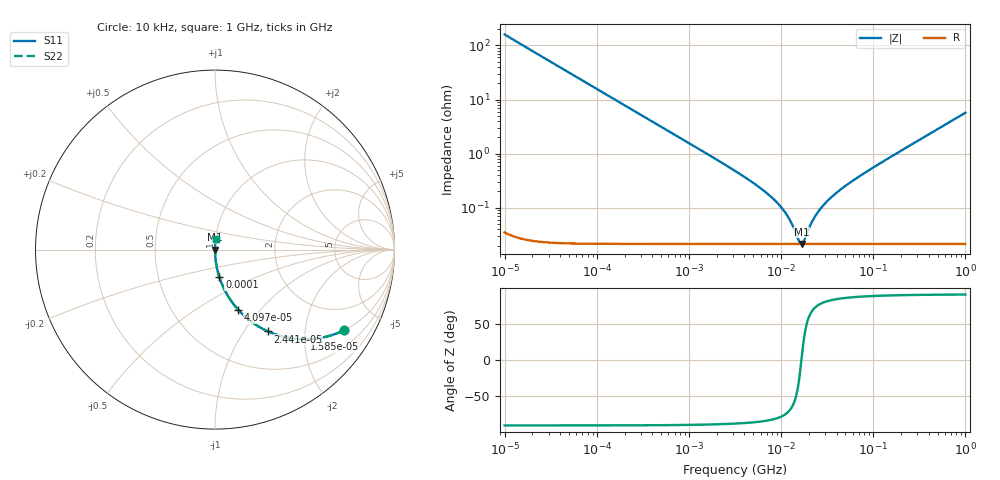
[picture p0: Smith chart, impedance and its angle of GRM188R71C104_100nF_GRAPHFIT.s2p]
! Touchstone 2-port S-parameters  (series-through model)
! Part: GRM188R71C104_100nF_GRAPHFIT
! Generated: 2026-06-14 19:51 UTC  by s2p tool
! Reference impedance: 50.0 Ohm
! ESL not derivable (no SRF, no case) -> default 0.5 nH [PHYSICS ESTIMATE, low confidence]
! ESR unknown -> default 10 mOhm [PHYSICS ESTIMATE, low confidence]
! Effective C from impedance curve: 101.129 nF (nominal 100.0 nF) [freq-domain derived, preferred over nominal]
! Z(f) vector-fit to digitized graph(s): 2 poles, rel. RMS error 0.75% [GRAPH FIT ***]
! SPICE = synthesized RLC ladder (1 branches, passive)
! ESTIMATED / behavioral model - NOT manufacturer-measured data.
# Hz S RI R 50
! freq  ReS11  ImS11  ReS21  ImS21  ReS12  ImS12  ReS22  ImS22
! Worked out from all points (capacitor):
!   521 points, 10 kHz to 1 GHz, reference 50 ohm
!   read as one part in series: C = 100 nF near 10.59 kHz
!   lowest |Z| = 21.5 mohm at 16.79 MHz (marker M1)
!   series resonance near 16.63 MHz, so ESL is about 910 pH
!   S11 on the Smith chart (normalised r, x): 10 kHz: 1.00, -3.19; 15.85 kHz: 1.00, -2.00; 24.41 kHz: 1.00, -1.29; 40.97 kHz: 1.00, -0.77; 100 kHz: 1.00, -0.32; 1 GHz: 1.00, +0.11
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10000  0.7184 -0.4497  0.2816 0.4497  0.2816 0.4497  0.7184 -0.4497
15848.93  0.4998 -0.4999  0.5002 0.4999  0.5002 0.4999  0.4998 -0.4999
24406.19  0.2953 -0.456  0.7047 0.456  0.7047 0.456  0.2953 -0.456
40973.21  0.1292 -0.3351  0.8708 0.3351  0.8708 0.3351  0.1292 -0.3351
68785.99  0.0501 -0.2176  0.9499 0.2176  0.9499 0.2176  0.0501 -0.2176
100000  0.0244 -0.1537  0.9756 0.1537  0.9756 0.1537  0.0244 -0.1537
473151.3  0.00132 -0.0332  0.9987 0.0332  0.9987 0.0332  0.00132 -0.0332
3162278  0.000238 -0.0048  0.9998 0.0048  0.9998 0.0048  0.000238 -0.0048
5956621  0.00022 -0.00231  0.9998 0.00231  0.9998 0.00231  0.00022 -0.00231
9440609  0.000216 -0.00113  0.9998 0.00113  0.9998 0.00113  0.000216 -0.00113
1.188502e7  0.000215 -0.000648  0.9998 0.000648  0.9998 0.000648  0.000215 -0.000648
1.333521e7  0.000215 -0.000421  0.9998 0.000421  0.9998 0.000421  0.000215 -0.000421
1.584893e7  0.000215 -9.07e-05  0.9998 9.07e-05  0.9998 9.07e-05  0.000215 -9.07e-05
1.678804e7  0.000215 1.84e-05  0.9998 -1.84e-05  0.9998 -1.84e-05  0.000215 1.84e-05
1.830206e7  0.000215 0.000182  0.9998 -0.000182  0.9998 -0.000182  0.000215 0.000182
1.830493e7  0.000215 0.000183  0.9998 -0.000183  0.9998 -0.000183  0.000215 0.000183
2.175204e7  0.000215 0.000515  0.9998 -0.000515  0.9998 -0.000515  0.000215 0.000515
2.818383e7  0.000216 0.00105  0.9998 -0.00105  0.9998 -0.00105  0.000216 0.00105
3.981072e7  0.000218 0.00187  0.9998 -0.00187  0.9998 -0.00187  0.000218 0.00187
6.315145e7  0.000226 0.00335  0.9998 -0.00335  0.9998 -0.00335  0.000226 0.00335
1.479555e8  0.000284 0.00833  0.9997 -0.00833  0.9997 -0.00833  0.000284 0.00833
1e9  0.00345 0.0568  0.9965 -0.0568  0.9965 -0.0568  0.00345 0.0568
